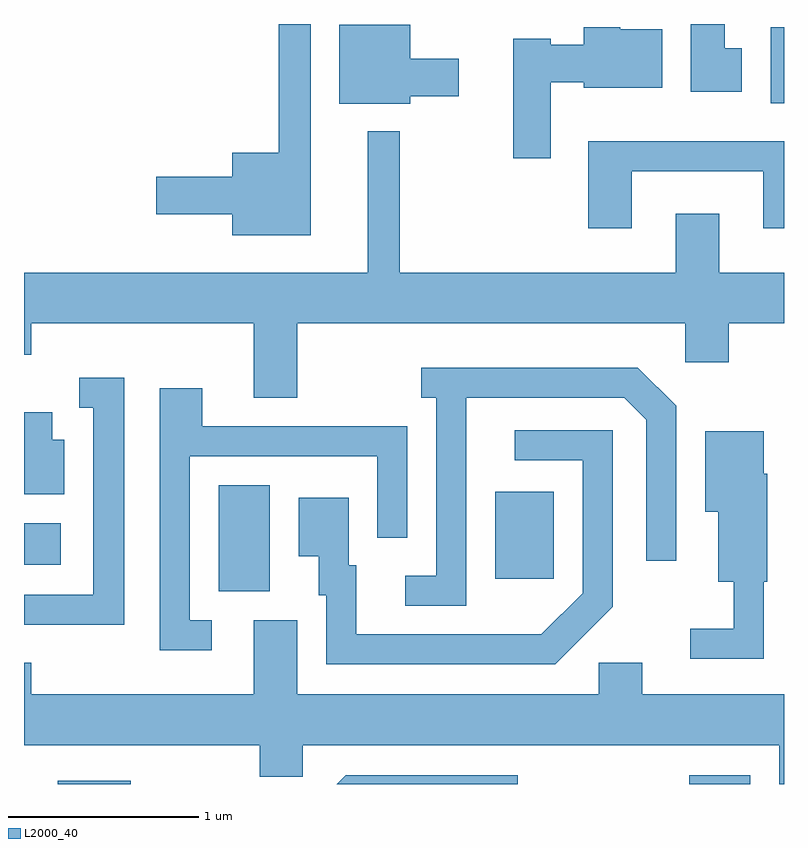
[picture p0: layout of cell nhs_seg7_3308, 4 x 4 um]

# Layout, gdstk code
import gdstk
lib = gdstk.Library(unit=1e-6, precision=1e-09)
def R(c, l, rs):  # rectangles x0, y0, x1, y1
    for r in rs: c.add(gdstk.rectangle(r[:2], r[2:], *l))
def P(c, l, *ps):  # polygons
    for p in ps: c.add(gdstk.Polygon(p, *l))
L2000_40 = (2000, 40)

nhs_seg7_3308 = lib.new_cell('nhs_seg7_3308')
R(nhs_seg7_3308, L2000_40, [(285.788,1796.252,286.174,1796.269), (289.113,1796.252,289.434,1796.299), (286.636,1797.266,286.904,1797.824), (288.091,1797.331,288.399,1797.789), (285.611,1797.406,285.804,1797.624), (289.541,1799.836,289.611,1800.234)])
P(nhs_seg7_3308, L2000_40, [(289.389,1800.124),(289.299,1800.124),(289.299,1800.252),(289.121,1800.252),(289.121,1799.896),(289.389,1799.896)],
  [(287.119,1800.252),(286.951,1800.252),(286.951,1799.574),(286.706,1799.574),(286.706,1799.449),(286.306,1799.449),(286.306,1799.251),(286.706,1799.251),(286.706,1799.141),(287.119,1799.141)],
  [(287.644,1799.871),(287.899,1799.871),(287.899,1800.069),(287.644,1800.069),(287.644,1800.249),(287.271,1800.249),(287.271,1799.831),(287.644,1799.831)],
  [(288.384,1799.946),(288.556,1799.946),(288.556,1799.916),(288.969,1799.916),(288.969,1800.224),(288.75,1800.224),(288.75,1800.234),(288.556,1800.234),(288.556,1800.144),(288.384,1800.144),(288.384,1800.174),(288.186,1800.174),(288.186,1799.546),(288.384,1799.546)],
  [(287.049,1798.676),(289.091,1798.676),(289.091,1798.471),(289.319,1798.471),(289.319,1798.676),(289.611,1798.676),(289.611,1798.944),(289.269,1798.944),(289.269,1799.254),(289.041,1799.254),(289.041,1798.944),(287.589,1798.944),(287.589,1799.688),(287.421,1799.688),(287.421,1798.944),(285.611,1798.944),(285.611,1798.511),(285.649,1798.511),(285.649,1798.676),(286.821,1798.676),(286.821,1798.286),(287.049,1798.286)],
  [(288.809,1799.476),(289.501,1799.476),(289.501,1799.176),(289.611,1799.176),(289.611,1799.634),(288.581,1799.634),(288.581,1799.176),(288.809,1799.176)],
  [(287.939,1798.286),(288.769,1798.286),(288.886,1798.169),(288.886,1797.428),(289.044,1797.428),(289.044,1798.242),(288.842,1798.444),(287.703,1798.444),(287.703,1798.286),(287.781,1798.286),(287.781,1797.349),(287.618,1797.349),(287.618,1797.191),(287.939,1797.191)],
  [(286.139,1798.389),(285.903,1798.389),(285.903,1798.231),(285.976,1798.231),(285.976,1797.249),(285.611,1797.249),(285.611,1797.091),(286.139,1797.091)],
  [(286.598,1797.114),(286.484,1797.114),(286.484,1797.976),(287.471,1797.976),(287.471,1797.548),(287.629,1797.548),(287.629,1798.134),(286.549,1798.134),(286.549,1798.334),(286.326,1798.334),(286.326,1796.956),(286.598,1796.956)],
  [(285.824,1798.064),(285.759,1798.064),(285.759,1798.209),(285.611,1798.209),(285.611,1797.776),(285.824,1797.776)],
  [(288.709,1797.184),(288.709,1798.114),(288.193,1798.114),(288.193,1797.956),(288.551,1797.956),(288.551,1797.257),(288.334,1797.039),(287.359,1797.039),(287.359,1797.404),(287.319,1797.404),(287.319,1797.759),(287.056,1797.759),(287.056,1797.451),(287.161,1797.451),(287.161,1797.246),(287.201,1797.246),(287.201,1796.881),(288.407,1796.881)],
  [(289.504,1797.316),(289.524,1797.316),(289.524,1797.884),(289.504,1797.884),(289.504,1798.109),(289.196,1798.109),(289.196,1797.686),(289.266,1797.686),(289.266,1797.316),(289.346,1797.316),(289.346,1797.069),(289.118,1797.069),(289.118,1796.911),(289.504,1796.911)],
  [(289.611,1796.724),(288.864,1796.724),(288.864,1796.889),(288.636,1796.889),(288.636,1796.724),(287.049,1796.724),(287.049,1797.114),(286.821,1797.114),(286.821,1796.724),(285.649,1796.724),(285.649,1796.889),(285.611,1796.889),(285.611,1796.456),(286.851,1796.456),(286.851,1796.291),(287.079,1796.291),(287.079,1796.456),(289.586,1796.456),(289.586,1796.252),(289.611,1796.252)],
  [(288.209,1796.299),(287.304,1796.299),(287.257,1796.252),(288.209,1796.252)])

lib.write_gds('nhs_seg7_3308.gds')
